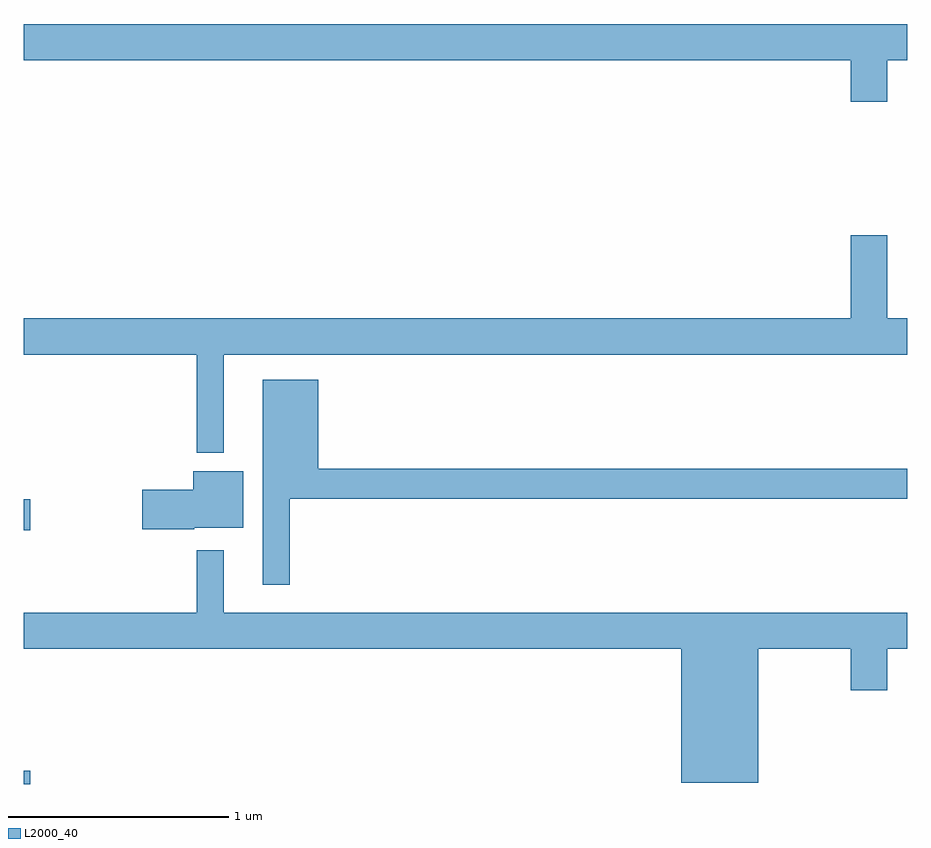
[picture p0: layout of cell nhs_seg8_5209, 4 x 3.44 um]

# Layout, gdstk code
import gdstk
lib = gdstk.Library(unit=1e-6, precision=1e-09)
def R(c, l, rs):  # rectangles x0, y0, x1, y1
    for r in rs: c.add(gdstk.rectangle(r[:2], r[2:], *l))
def P(c, l, *ps):  # polygons
    for p in ps: c.add(gdstk.Polygon(p, *l))
L2000_40 = (2000, 40)

nhs_seg8_5209 = lib.new_cell('nhs_seg8_5209')
R(nhs_seg8_5209, L2000_40, [(425,1103.9,425.029,1103.96), (425,1105.048,425.029,1105.19)])
P(nhs_seg8_5209, L2000_40, [(428.908,1107.176),(429,1107.176),(429,1107.34),(425,1107.34),(425,1107.176),(428.744,1107.176),(428.744,1106.988),(428.908,1106.988)],
  [(425.905,1105.844),(429,1105.844),(429,1106.008),(428.908,1106.008),(428.908,1106.383),(428.744,1106.383),(428.744,1106.008),(425,1106.008),(425,1105.844),(425.784,1105.844),(425.784,1105.4),(425.905,1105.4)],
  [(426.205,1105.192),(429,1105.192),(429,1105.328),(426.334,1105.328),(426.334,1105.729),(426.083,1105.729),(426.083,1104.801),(426.205,1104.801)],
  [(425.772,1105.061),(425.995,1105.061),(425.995,1105.315),(425.768,1105.315),(425.768,1105.232),(425.538,1105.232),(425.538,1105.054),(425.772,1105.054)],
  [(428.326,1104.512),(428.744,1104.512),(428.744,1104.324),(428.908,1104.324),(428.908,1104.512),(429,1104.512),(429,1104.676),(425.905,1104.676),(425.905,1104.958),(425.784,1104.958),(425.784,1104.676),(425,1104.676),(425,1104.512),(427.976,1104.512),(427.976,1103.906),(428.326,1103.906)])

lib.write_gds('nhs_seg8_5209.gds')
